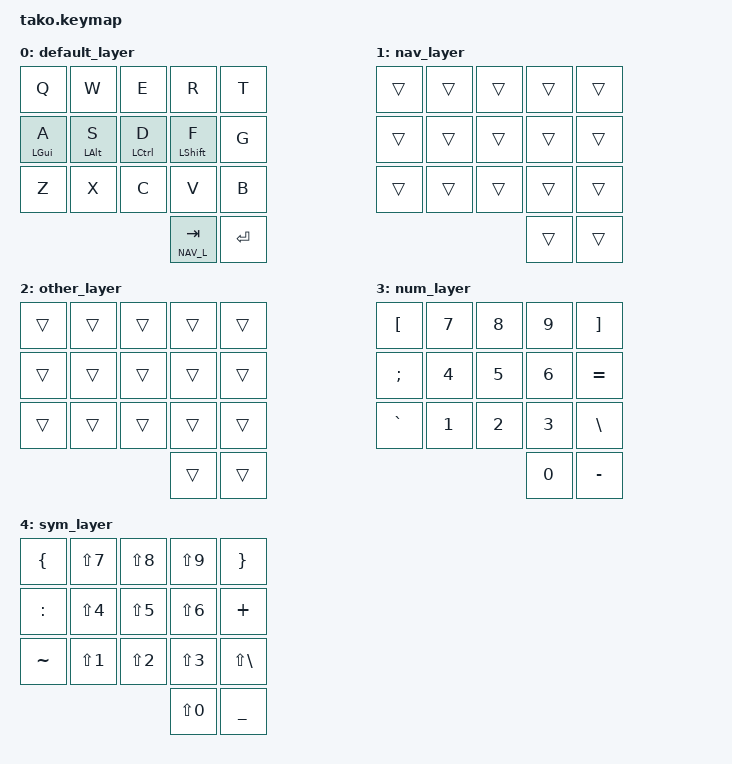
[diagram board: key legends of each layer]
/*
 * Copyright (c) 2020 The ZMK Contributors
 *
 * SPDX-License-Identifier: MIT
 */

#include <behaviors.dtsi>
#include <dt-bindings/zmk/keys.h>
#include <dt-bindings/zmk/bt.h>

#define NAV_L 1
#define OTHER_L 2
#define NUM_L 3
#define SYM_L 4

// Using layer taps on thumbs, having quick tap as well helps w/ repeating space/backspace
&lt { quick_tap_ms = <200>; };

/ {
    behaviors {
        hm: homerow_mods {
            compatible = "zmk,behavior-hold-tap";
            label = "homerow mods";
            #binding-cells = <2>;
            tapping_term_ms = <200>;
            flavor = "tap-preferred";
            bindings = <&kp>, <&kp>;
        };
    };

    keymap {
        compatible = "zmk,keymap";

        default_layer {
            bindings = <
                &kp Q      &kp W      &kp E       &kp R          &kp T
                &hm LGUI A &hm LALT S &hm LCTRL D &hm LSHFT F    &kp G
                &kp Z      &kp X      &kp C       &kp V          &kp B
                                                  &lt NAV_L TAB  &kp ENTER
            >;
        };

        nav_layer {
            bindings = <
                &trans     &trans     &trans      &trans          &trans
                &trans     &trans     &trans      &trans          &trans
                &trans     &trans     &trans      &trans          &trans
                                                  &trans          &trans
            >;
        };

        other_layer {
            bindings = <
                &trans     &trans     &trans      &trans          &trans
                &trans     &trans     &trans      &trans          &trans
                &trans     &trans     &trans      &trans          &trans
                                                  &trans          &trans
            >;
        };

        num_layer {
            bindings = <
                &kp LBKT   &kp N7     &kp N8      &kp N9          &kp RBKT
                &kp SEMI   &kp N4     &kp N5      &kp N6          &kp EQUAL
                &kp GRAVE  &kp N1     &kp N2      &kp N3          &kp BSLH
                                                  &kp N0          &kp MINUS
            >;
        };

        sym_layer {
            bindings = <
                &kp LBRC   &kp LS(N7) &kp LS(N8)  &kp LS(N9)      &kp RBRC
                &kp COLON  &kp LS(N4) &kp LS(N5)  &kp LS(N6)      &kp PLUS
                &kp TILDE  &kp LS(N1) &kp LS(N2)  &kp LS(N3)      &kp LS(BSLH)
                                                  &kp LS(N0)      &kp UNDER
            >;
        };
    };
};
